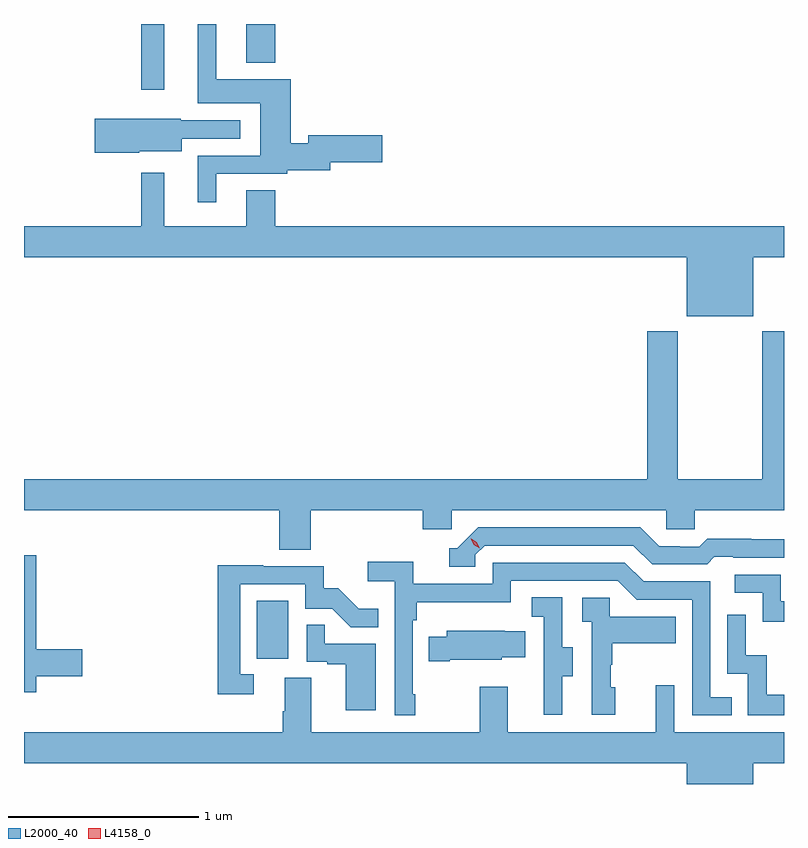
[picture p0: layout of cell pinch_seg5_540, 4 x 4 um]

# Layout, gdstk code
import gdstk
lib = gdstk.Library(unit=1e-6, precision=1e-09)
def R(c, l, rs):  # rectangles x0, y0, x1, y1
    for r in rs: c.add(gdstk.rectangle(r[:2], r[2:], *l))
def P(c, l, *ps):  # polygons
    for p in ps: c.add(gdstk.Polygon(p, *l))
L2000_40 = (2000, 40)
L4158_0 = (4158, 0)

pinch_seg5_540 = lib.new_cell('pinch_seg5_540')
R(pinch_seg5_540, L2000_40, [(975.62,838.662,975.784,838.969), (975.012,841.659,975.133,842.004), (975.563,841.799,975.716,842.004)])
P(pinch_seg5_540, L2000_40, [(975.406,841.215),(975.78,841.215),(975.78,841.234),(976.006,841.234),(976.006,841.276),(976.279,841.276),(976.279,841.418),(975.89,841.418),(975.89,841.376),(975.797,841.376),(975.797,841.714),(975.406,841.714),(975.406,842.002),(975.308,842.002),(975.308,841.586),(975.638,841.586),(975.638,841.311),(975.308,841.311),(975.308,841.065),(975.406,841.065)],
  [(975,841.334),(975.223,841.334),(975.223,841.401),(975.532,841.401),(975.532,841.497),(975.219,841.497),(975.219,841.505),(974.766,841.505),(974.766,841.327),(975,841.327)],
  [(978.232,840.776),(978.394,840.776),(978.394,840.94),(975.716,840.94),(975.716,841.13),(975.563,841.13),(975.563,840.94),(975.133,840.94),(975.133,841.222),(975.012,841.222),(975.012,840.94),(974.394,840.94),(974.394,840.776),(977.882,840.776),(977.882,840.467),(978.232,840.467)],
  [(975.902,839.444),(976.493,839.444),(976.493,839.346),(976.644,839.346),(976.644,839.444),(977.775,839.444),(977.775,839.346),(977.925,839.346),(977.925,839.444),(978.394,839.444),(978.394,840.388),(978.28,840.388),(978.28,839.608),(977.835,839.608),(977.835,840.388),(977.675,840.388),(977.675,839.608),(974.394,839.608),(974.394,839.444),(975.737,839.444),(975.737,839.236),(975.902,839.236)],
  [(976.77,839.211),(976.818,839.259),(977.601,839.259),(977.7,839.16),(977.989,839.16),(978.028,839.199),(978.127,839.199),(978.127,839.196),(978.394,839.196),(978.394,839.293),(978.222,839.293),(978.222,839.296),(977.989,839.296),(977.947,839.253),(977.844,839.253),(977.844,839.256),(977.737,839.256),(977.638,839.355),(976.785,839.355),(976.674,839.244),(976.631,839.244),(976.631,839.148),(976.77,839.148)],
  [(974.458,838.57),(974.701,838.57),(974.701,838.712),(974.458,838.712),(974.458,839.209),(974.394,839.209),(974.394,838.488),(974.458,838.488)],
  [(976.453,838.477),(976.44,838.477),(976.44,838.865),(976.46,838.865),(976.46,838.961),(976.956,838.961),(976.956,839.073),(977.52,839.073),(977.619,838.974),(977.91,838.974),(977.91,838.365),(978.119,838.365),(978.119,838.461),(978.006,838.461),(978.006,839.07),(977.656,839.07),(977.557,839.169),(976.86,839.169),(976.86,839.058),(976.442,839.058),(976.442,839.174),(976.203,839.174),(976.203,839.072),(976.344,839.072),(976.344,838.365),(976.453,838.365)],
  [(975.604,838.581),(975.531,838.581),(975.531,839.055),(975.873,839.055),(975.873,838.926),(976.017,838.926),(976.115,838.828),(976.259,838.828),(976.259,838.927),(976.155,838.927),(976.048,839.034),(975.972,839.034),(975.972,839.151),(975.653,839.151),(975.653,839.156),(975.415,839.156),(975.415,838.476),(975.604,838.476)],
  [(978.394,838.965),(978.378,838.965),(978.378,839.106),(978.135,839.106),(978.135,839.01),(978.282,839.01),(978.282,838.857),(978.394,838.857)],
  [(977.227,838.57),(977.281,838.57),(977.281,838.725),(977.226,838.725),(977.226,838.988),(977.067,838.988),(977.067,838.885),(977.13,838.885),(977.13,838.581),(977.129,838.581),(977.129,838.368),(977.227,838.368)],
  [(977.506,838.512),(977.481,838.512),(977.481,838.631),(977.491,838.631),(977.491,838.745),(977.825,838.745),(977.825,838.885),(977.478,838.885),(977.478,838.983),(977.331,838.983),(977.331,838.859),(977.382,838.859),(977.382,838.368),(977.506,838.368)],
  [(978.394,838.474),(978.302,838.474),(978.302,838.682),(978.192,838.682),(978.192,838.894),(978.096,838.894),(978.096,838.584),(978.204,838.584),(978.204,838.365),(978.394,838.365)],
  [(976.246,838.743),(975.977,838.743),(975.977,838.841),(975.882,838.841),(975.882,838.647),(975.989,838.647),(975.989,838.635),(976.088,838.635),(976.088,838.392),(976.246,838.392)],
  [(976.636,838.658),(976.908,838.658),(976.908,838.67),(977.033,838.67),(977.033,838.807),(976.925,838.807),(976.925,838.81),(976.619,838.81),(976.619,838.78),(976.525,838.78),(976.525,838.651),(976.636,838.651)],
  [(978.232,838.112),(978.394,838.112),(978.394,838.276),(977.817,838.276),(977.817,838.525),(977.72,838.525),(977.72,838.276),(976.939,838.276),(976.939,838.516),(976.792,838.516),(976.792,838.276),(975.907,838.276),(975.907,838.562),(975.767,838.562),(975.767,838.388),(975.755,838.388),(975.755,838.276),(974.394,838.276),(974.394,838.112),(977.882,838.112),(977.882,838.004),(978.232,838.004)])
P(pinch_seg5_540, L4158_0, [(976.793,839.244),(976.762,839.264),(976.746,839.296),(976.746,839.296),(976.747,839.296),(976.777,839.277),(976.793,839.244),(976.793,839.244)])

lib.write_gds('pinch_seg5_540.gds')
